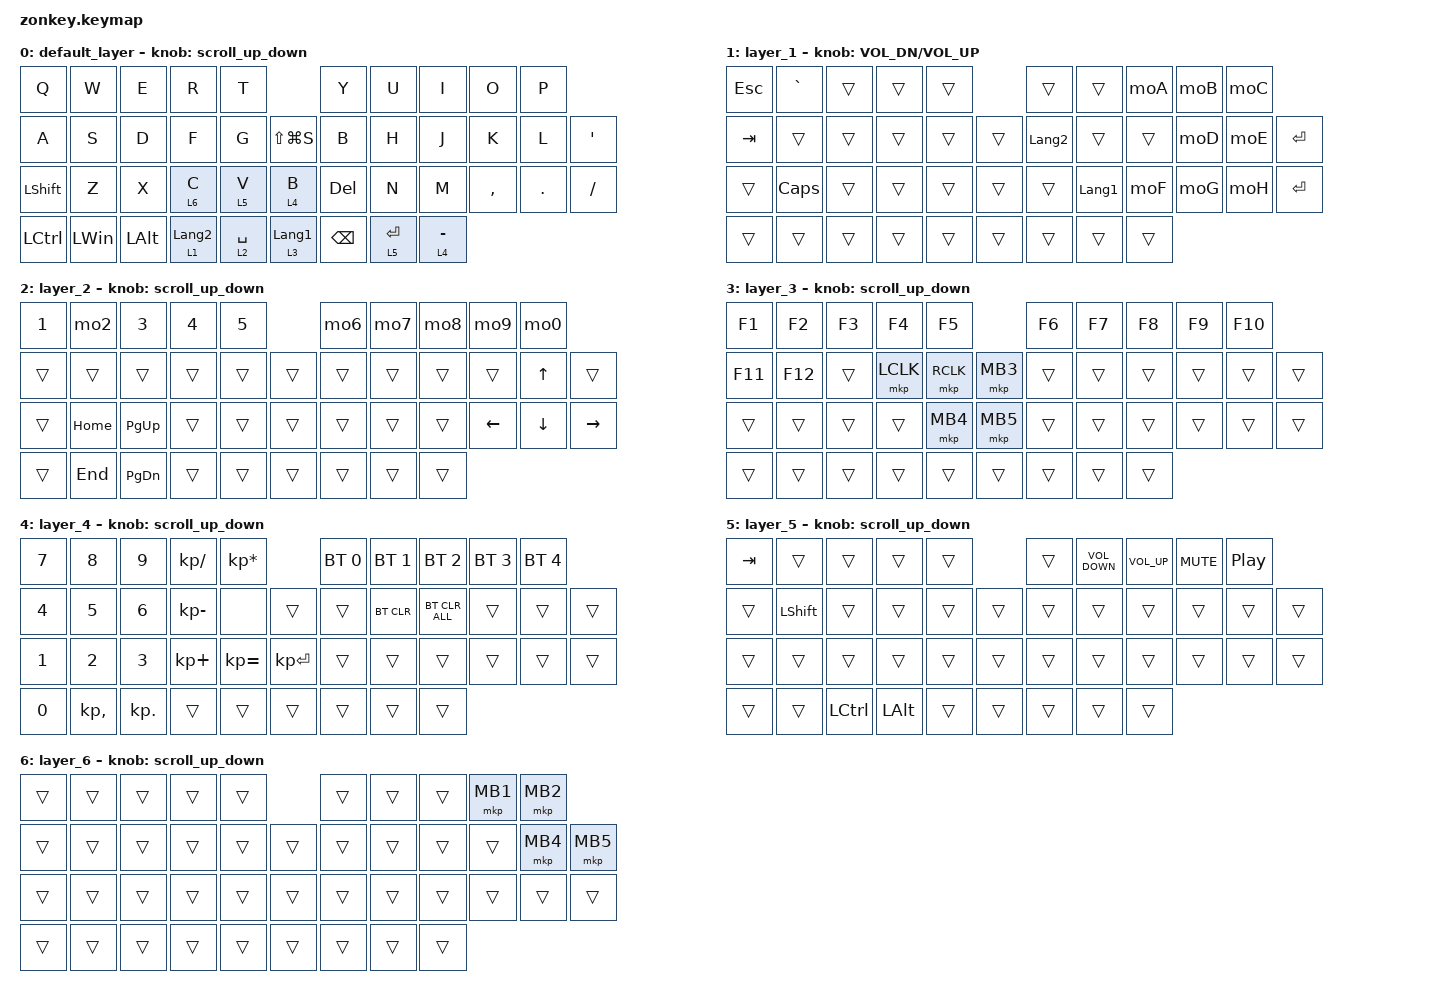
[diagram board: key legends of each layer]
#include <behaviors.dtsi>
#include <dt-bindings/zmk/bt.h>
#include <dt-bindings/zmk/keys.h>
#include <dt-bindings/zmk/pointing.h>

#define ZMK_POINTING_DEFAULT_SCRL_VAL 100
#define MOUSE 6
#define JP_DQUOTE       AT                // "
#define JP_AMPERSAND    CARET             // &
#define JP_QUOTE        AMPERSAND         // '
#define JP_EQUAL        UNDER             // =
#define JP_CARET        EQUAL             // ^
#define JP_YEN          0x89              // ¥
#define JP_PLUS         COLON             // +
#define JP_TILDE        PLUS              // ~
#define JP_PIPE         LS(0x89)          // |
#define JP_AT           LEFT_BRACKET      // @
#define JP_COLON        SINGLE_QUOTE      // :
#define JP_ASTERISK     DOUBLE_QUOTES     // *
#define JP_BACKQUOTE    LEFT_BRACE        // `
#define JP_UNDERSCORE   LS(0x87)          // _
#define JP_LBRACKET     RIGHT_BRACKET     // [
#define JP_RBRACKET     BACKSLASH         // ]
#define JP_LPAREN       ASTERISK          // (
#define JP_RPAREN       LEFT_PARENTHESIS  // )
#define JP_LBRACE       RIGHT_BRACE       // {
#define JP_RBRACE       PIPE              // }
#define JP_KANA         LANGUAGE_1        // かな
#define JP_EISU         LANGUAGE_2        // 英数
#define JP_HANZEN       GRAVE             // 半角/全角
#define JP_BSLH  INT1         // (backslash)

&mt {
    flavor = "balanced";
    quick-tap-ms = <0>;
};

/ {
    combos { compatible = "zmk,combos"; };

    mo2: mo2 {
        compatible = "zmk,behavior-mod-morph";
        #binding-cells = <0>;
        bindings = <&kp N2>, <&kp AT>;

        mods = <(MOD_LSFT|MOD_RSFT)>;
    };

    mo6: mo6 {
        compatible = "zmk,behavior-mod-morph";
        #binding-cells = <0>;
        bindings = <&kp N6>, <&kp CARET>;

        mods = <(MOD_LSFT|MOD_RSFT)>;
    };

    mo7: mo7 {
        compatible = "zmk,behavior-mod-morph";
        #binding-cells = <0>;
        bindings = <&kp N7>, <&kp AMPS>;

        mods = <(MOD_LSFT|MOD_RSFT)>;
    };

    mo8: mo8 {
        compatible = "zmk,behavior-mod-morph";
        #binding-cells = <0>;
        bindings = <&kp N8>, <&kp ASTRK>;

        mods = <(MOD_LSFT|MOD_RSFT)>;
    };

    mo9: mo9 {
        compatible = "zmk,behavior-mod-morph";
        #binding-cells = <0>;
        bindings = <&kp N9>, <&kp LPAR>;

        mods = <(MOD_LSFT|MOD_RSFT)>;
    };

    mo0: mo0 {
        compatible = "zmk,behavior-mod-morph";
        #binding-cells = <0>;
        bindings = <&kp N0>, <&kp LS(N9)>;

        mods = <(MOD_LSFT|MOD_RSFT)>;
    };

    moA: moA {
        compatible = "zmk,behavior-mod-morph";
        #binding-cells = <0>;
        bindings = <&kp MINUS>, <&kp UNDERSCORE>;

        mods = <(MOD_LSFT|MOD_RSFT)>;
    };

    moB: moB {
        compatible = "zmk,behavior-mod-morph";
        #binding-cells = <0>;
        bindings = <&kp EQUAL>, <&kp PLUS>;

        mods = <(MOD_LSFT|MOD_RSFT)>;
    };

    moC: moC {
        compatible = "zmk,behavior-mod-morph";
        #binding-cells = <0>;
        bindings = <&kp INT3>, <&kp JP_PIPE>;

        mods = <(MOD_LSFT|MOD_RSFT)>;
    };

    moD: moD {
        compatible = "zmk,behavior-mod-morph";
        #binding-cells = <0>;
        bindings = <&kp LBKT>, <&kp LBRC>;

        mods = <(MOD_LSFT|MOD_RSFT)>;
    };

    moE: moE {
        compatible = "zmk,behavior-mod-morph";
        #binding-cells = <0>;
        bindings = <&kp RBKT>, <&kp RBRC>;

        mods = <(MOD_LSFT|MOD_RSFT)>;
    };

    moF: moF {
        compatible = "zmk,behavior-mod-morph";
        #binding-cells = <0>;
        bindings = <&kp SEMI>, <&kp KP_PLUS>;

        mods = <(MOD_LSFT|MOD_RSFT)>;
    };

    moG: moG {
        compatible = "zmk,behavior-mod-morph";
        #binding-cells = <0>;
        bindings = <&kp APOSTROPHE>, <&kp DQT>;

        mods = <(MOD_LSFT|MOD_RSFT)>;
    };

    moH: moH {
        compatible = "zmk,behavior-mod-morph";
        #binding-cells = <0>;
        bindings = <&kp BACKSLASH>, <&kp TILDE2>;

        mods = <(MOD_LSFT|MOD_RSFT)>;
    };

    moI: moI {
        compatible = "zmk,behavior-mod-morph";
        #binding-cells = <0>;
        bindings = <&kp JP_BSLH>, <&kp JP_UNDERSCORE>;

        mods = <(MOD_LSFT|MOD_RSFT)>;
    };

    macros {
        to_layer_0: to_layer_0 {
            compatible = "zmk,behavior-macro-one-param";
            #binding-cells = <1>;
            bindings = <&to 0 &macro_param_1to1 &kp MACRO_PLACEHOLDER>;
            label = "TO_LAYER_0";
        };
    };

    behaviors {
        lt_to_layer_0: lt_to_layer_0 {
            compatible = "zmk,behavior-hold-tap";
            label = "LAYER_TAP_TO_0";
            bindings = <&mo>, <&to_layer_0>;

            #binding-cells = <2>;
            tapping-term-ms = <200>;
        };

        scroll_up_down: scroll_up_down {
            compatible = "zmk,behavior-sensor-rotate";
            #sensor-binding-cells = <0>;
            bindings = <&msc SCRL_DOWN>, <&msc SCRL_UP>;

            tap-ms = <20>;
            label = "scroll_up_down";
        };
    };

    keymap {
        compatible = "zmk,keymap";

        default_layer {
            // -----------------------------------------------------------------------------------------
            // |  Q  |  W  |  E  |  R  |  T  |                        |  Y  |  U   |  I  |  O  |  P  | 
            // |  A  |  S  |  D  |  F  |  G  |LS(LG(S))|        　 | - |  H  |  J   |  K  |  L  |  `  | 
            // |SHIFT|  Z  |  X  |  C  |  V  |  B  |           | B |  N  |  M   |  ,  |  .  |  /  | 
            // | CTRL | WIN | ALT |HENKAN|SPACE|MUHENKAN|       | BS | ENT |      　　　　       | DEL |           

            bindings = <
&kp Q             &kp W         &kp E         &kp R             &kp T                              &kp Y          &kp U        &kp I        &kp O      &kp P
&kp A             &kp S         &kp D         &kp F             &kp G        &kp LS(LG(S))         &kp B          &kp H        &kp J        &kp K      &kp L    &kp SQT
&kp LEFT_SHIFT    &kp Z         &kp X         &lt 6 C           &lt 5 V      &lt 4 B               &kp DELETE     &kp N        &kp M        &kp COMMA  &kp DOT  &kp SLASH
&kp LEFT_CONTROL  &kp LEFT_WIN  &kp LEFT_ALT  &lt 1 LANGUAGE_2  &lt 2 SPACE  &lt 3 LANGUAGE_1      &kp BACKSPACE  &lt 5 ENTER  &lt 4 MINUS
            >;

            sensor-bindings = <&scroll_up_down>;
        };

        layer_1 {
            // -----------------------------------------------------------------------------------------
            // |CAPS　| 　　|     |     |                    　　　　　　 |     |     |  -  |  ^  |  ¥  |
            // | TAB |     |     |     |     |     |              |    |     |     |     |  @  |  [  |
            // |SHIFT|     |     |     |     |     |           　 | 英数 | かな |    |  ; |  :  |  ]  |
            // | CTRL| WIN | ALT |HENKAN|SPACE|MUHENKAN|         | BS | ENT |                   | DEL |

            bindings = <
&kp ESCAPE  &kp GRAVE  &trans  &trans  &trans              &trans       &trans       &moA    &moB  &moC
&kp TAB     &trans     &trans  &trans  &trans  &trans      &kp JP_EISU  &trans       &trans  &moD  &moE  &kp ENTER
&trans      &kp CAPS   &trans  &trans  &trans  &trans      &trans       &kp JP_KANA  &moF    &moG  &moH  &kp ENTER
&trans      &trans     &trans  &trans  &trans  &trans      &trans       &trans       &trans
            >;

            sensor-bindings = <&inc_dec_kp C_VOL_DN C_VOL_UP>;
        };

        layer_2 {
            // -----------------------------------------------------------------------------------------
            // |  1  |  2  |  3  |  4  |  5  |                     |  6  |  7  |  8  |  9  |   0  |
            // |      |     |     |     |     |     |           |    |     |     |     |  ↑  |      |
            // |SHIFT|     |     |     |     |     |           |     |     |     |  ←  |  ↓  |  →  |
            // | CTRL| WIN | ALT |HENKAN|SPACE|MUHENKAN|         | BS | ENT |                   | DEL |

            bindings = <
&kp N1  &mo2      &kp N3         &kp N4  &kp N5              &mo6    &mo7    &mo8    &mo9            &mo0
&trans  &trans    &trans         &trans  &trans  &trans      &trans  &trans  &trans  &trans          &kp UP_ARROW    &trans
&trans  &kp HOME  &kp PAGE_UP    &trans  &trans  &trans      &trans  &trans  &trans  &kp LEFT_ARROW  &kp DOWN_ARROW  &kp RIGHT_ARROW
&trans  &kp END   &kp PAGE_DOWN  &trans  &trans  &trans      &trans  &trans  &trans
            >;

            sensor-bindings = <&scroll_up_down>;
        };

        layer_3 {
            // -----------------------------------------------------------------------------------------
            // | F1  | F2  | F3  | F4  | F5  |                     | F6  | F7 | F8  | F9 | F10 |
            // | F11 | F12 |     |     |     |     |           |    |     |     |     |     |      |
            // |SHIFT|     |     |     |     |     |           |     |     |     |     |     |      |
            // | CTRL| WIN | ALT |HENKAN|SPACE|MUHENKAN|         | BS | ENT |                   | DEL |

            bindings = <
&kp F1   &kp F2   &kp F3  &kp F4     &kp F5                   &kp F6  &kp F7  &kp F8  &kp F9  &kp F10
&kp F11  &kp F12  &trans  &mkp LCLK  &mkp RCLK  &mkp MB3      &trans  &trans  &trans  &trans  &trans   &trans
&trans   &trans   &trans  &trans     &mkp MB4   &mkp MB5      &trans  &trans  &trans  &trans  &trans   &trans
&trans   &trans   &trans  &trans     &trans     &trans        &trans  &trans  &trans
            >;

            sensor-bindings = <&scroll_up_down>;
        };

        layer_4 {
            // -----------------------------------------------------------------------------------------
            // | BT0 | BT1 | BT2 | BT3 | BT4 |                        |  -  |  7  |  8  |  9  |  +  |
            // |BTCLR |     |     |     |     |     |                 |  /  |  4  |  5  |  6  |  *  | 
            // |SHIFT|     |     |     |     |     |           |  .  |  0  |  1  |  2  |   3  |  =  |
            // | CTRL| WIN | ALT |HENKAN|SPACE|MUHENKAN|        | BS | ENT |                  | DEL |

            bindings = <
&kp N7  &kp N8        &kp N9      &kp KP_DIVIDE  &kp KP_MULTIPLY                    &bt BT_SEL 0  &bt BT_SEL 1  &bt BT_SEL 2    &bt BT_SEL 3  &bt BT_SEL 4
&kp N4  &kp N5        &kp N6      &kp KP_MINUS   &none            &trans            &trans        &bt BT_CLR    &bt BT_CLR_ALL  &trans        &trans        &trans
&kp N1  &kp N2        &kp N3      &kp KP_PLUS    &kp KP_EQUAL     &kp KP_ENTER      &trans        &trans        &trans          &trans        &trans        &trans
&kp N0  &kp KP_COMMA  &kp KP_DOT  &trans         &trans           &trans            &trans        &trans        &trans
            >;

            sensor-bindings = <&scroll_up_down>;
        };

        layer_5 {
            // -----------------------------------------------------------------------------------------
            // |      |     |     |     |     |                     |     |     |     |     |      |
            // |      |     |     |     |     |     |           |    |     |     |     |     |      |
            // |SHIFT|     |     |     |     |     |          |     |     |     |     |     |      |
            // | CTRL| WIN | ALT |HENKAN|SPACE|MUHENKAN|        | BS | ENT |                  | DEL |

            bindings = <
&kp TAB  &trans          &trans            &trans        &trans              &trans  &kp C_VOLUME_DOWN  &kp C_VOLUME_UP  &kp C_MUTE  &kp C_PLAY_PAUSE
&trans   &kp LEFT_SHIFT  &trans            &trans        &trans  &trans      &trans  &trans             &trans           &trans      &trans            &trans
&trans   &trans          &trans            &trans        &trans  &trans      &trans  &trans             &trans           &trans      &trans            &trans
&trans   &trans          &kp LEFT_CONTROL  &kp LEFT_ALT  &trans  &trans      &trans  &trans             &trans
            >;

            sensor-bindings = <&scroll_up_down>;
        };

        layer_6 {
            bindings = <
&trans  &trans  &trans  &trans  &trans              &trans  &trans  &trans  &mkp MB1  &mkp MB2
&trans  &trans  &trans  &trans  &trans  &trans      &trans  &trans  &trans  &trans    &mkp MB4  &mkp MB5
&trans  &trans  &trans  &trans  &trans  &trans      &trans  &trans  &trans  &trans    &trans    &trans
&trans  &trans  &trans  &trans  &trans  &trans      &trans  &trans  &trans
            >;

            sensor-bindings = <&scroll_up_down>;
        };
    };
};
